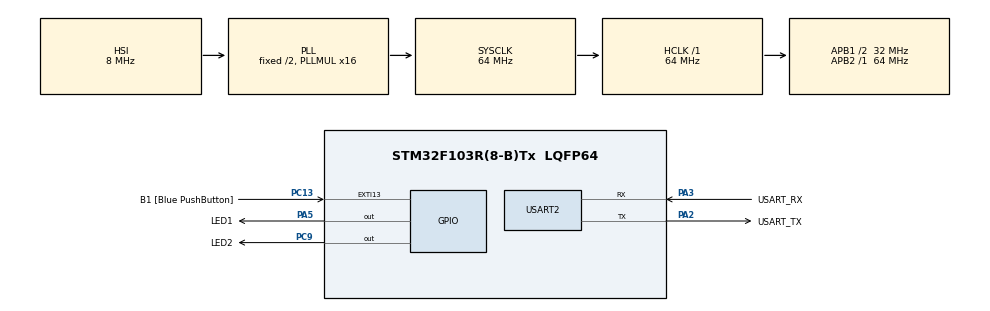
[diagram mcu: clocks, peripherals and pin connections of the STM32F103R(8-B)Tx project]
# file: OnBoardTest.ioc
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Mcu.Family=STM32F1
Mcu.Name=STM32F103R(8-B)Tx
Mcu.Package=LQFP64
NVIC.EXTI15_10_IRQn=true\:0\:0\:false\:false\:true\:true\:true\:true
NVIC.PriorityGroup=NVIC_PRIORITYGROUP_4
NVIC.TIM2_IRQn=true\:0\:0\:false\:false\:true\:true\:true\:true
PA13.GPIO_Label=TMS
PA13.Mode=Serial_Wire
PA13.Signal=SYS_JTMS-SWDIO
PA14.GPIO_Label=TCK
PA14.Mode=Serial_Wire
PA14.Signal=SYS_JTCK-SWCLK
PA2.GPIO_Label=USART_TX
PA2.GPIO_Mode=GPIO_MODE_AF_PP
PA2.GPIO_PuPd=GPIO_NOPULL
PA2.GPIO_Speed=GPIO_SPEED_FREQ_LOW
PA2.Mode=Asynchronous
PA2.Signal=USART2_TX
PA3.GPIO_Label=USART_RX
PA3.GPIO_Mode=GPIO_MODE_AF_PP
PA3.GPIO_PuPd=GPIO_NOPULL
PA3.GPIO_Speed=GPIO_SPEED_FREQ_LOW
PA3.Mode=Asynchronous
PA3.Signal=USART2_RX
PA5.GPIO_Label=LED1
PA5.GPIO_ModeDefaultOutputPP=GPIO_MODE_OUTPUT_PP
PA5.GPIO_PuPd=GPIO_NOPULL
PA5.GPIO_Speed=GPIO_SPEED_FREQ_LOW
PA5.Signal=GPIO_Output
PB3.GPIO_Label=SWO
PB3.Signal=SYS_JTDO-TRACESWO
PC13-TAMPER-RTC.GPIO_Label=B1 [Blue PushButton]
PC13-TAMPER-RTC.GPIO_PuPd=GPIO_NOPULL
PC13-TAMPER-RTC.Signal=GPXTI13
PC14-OSC32_IN.Mode=LSE-External-Oscillator
PC14-OSC32_IN.Signal=RCC_OSC32_IN
PC15-OSC32_OUT.Mode=LSE-External-Oscillator
PC15-OSC32_OUT.Signal=RCC_OSC32_OUT
PC9.GPIO_Label=LED2
PC9.Signal=GPIO_Output
PD0-OSC_IN.Mode=HSE-External-Clock-Source
PD0-OSC_IN.Signal=RCC_OSC_IN
PD1-OSC_OUT.Mode=HSE-External-Clock-Source
PD1-OSC_OUT.Signal=RCC_OSC_OUT
ProjectManager.HeapSize=0x200
ProjectManager.StackSize=0x400
ProjectManager.TargetToolchain=STM32CubeIDE
RCC.AHBFreq_Value=64000000
RCC.APB1CLKDivider=RCC_HCLK_DIV2
RCC.APB1Freq_Value=32000000
RCC.APB1TimFreq_Value=64000000
RCC.APB2Freq_Value=64000000
RCC.APB2TimFreq_Value=64000000
RCC.HCLKFreq_Value=64000000
RCC.PLLMUL=RCC_PLL_MUL16
RCC.RTCClockSelection=RCC_RTCCLKSOURCE_LSE
RCC.SYSCLKFreq_VALUE=64000000
RCC.SYSCLKSource=RCC_SYSCLKSOURCE_PLLCLK
RCC.USBFreq_Value=64000000
TIM2.Period=9
TIM2.Prescaler=6399
USART2.VirtualMode=VM_ASYNC
VP_TIM2_VS_ClockSourceINT.Mode=Internal
board=NUCLEO-F103RB

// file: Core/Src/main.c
/* USER CODE BEGIN Header */
/**
  ******************************************************************************
  * @file           : main.c
  * @brief          : Main program body
  ******************************************************************************
  * @attention
  *
  * Copyright (c) 2023 STMicroelectronics.
  * All rights reserved.
  *
  * This software is licensed under terms that can be found in the LICENSE file
  * in the root directory of this software component.
  * If no LICENSE file comes with this software, it is provided AS-IS.
  *
  ******************************************************************************
  */
/* USER CODE END Header */
#include "main.h"

/* USER CODE BEGIN PD */
#define ON_DURATION0 9
#define OFF_DURATION0 1
#define ON_DURATION1 9
#define OFF_DURATION1 1
/* USER CODE END PD */

TIM_HandleTypeDef htim2;

UART_HandleTypeDef huart2;

/* USER CODE BEGIN PV */
int timer0_counter = 0;
int timer0_flag = 0;
int timer1_counter = 0;
int timer1_flag = 0;

/* USER CODE END PV */

void SystemClock_Config(void);
static void MX_GPIO_Init(void);
static void MX_USART2_UART_Init(void);
static void MX_TIM2_Init(void);
/* USER CODE BEGIN PFP */
void timer0Run()
{
	--timer0_counter;
	if (timer0_counter <= 0)
	{
		timer0_flag = 1;
	}
}

void setTimer0(int duration)
{
	timer0_counter = duration;
	timer0_flag = 0;
}

void timer1Run()
{
	--timer1_counter;
	if (timer1_counter <= 0)
	{
		timer1_flag = 1;
	}
}

void setTimer1(int duration)
{
	timer1_counter = duration;
	timer1_flag = 0;
}

/* USER CODE END PFP */

int main(void)
{

  /* MCU Configuration--------------------------------------------------------*/

  /* Reset of all peripherals, Initializes the Flash interface and the Systick. */
  HAL_Init();

  /* Configure the system clock */
  SystemClock_Config();

  /* Initialize all configured peripherals */
  MX_GPIO_Init();
  MX_USART2_UART_Init();
  MX_TIM2_Init();

  /* Infinite loop */
  /* USER CODE BEGIN WHILE */
  HAL_TIM_Base_Start_IT(&htim2);
  enum Status
  {
	  INIT,
	  LED_ON,
	  LED_OFF
  };
  int led_status0 = INIT;
  int led_status1 = INIT;
//  int led_enabled = 0;
  HAL_GPIO_WritePin(LED1_GPIO_Port, LED1_Pin, GPIO_PIN_RESET);
  while (1)
  {
    /* USER CODE END WHILE */

    /* USER CODE BEGIN 3 */
//	Exercise 2
//	switch (led_enabled)
//	{
//	  case 0:
//		  HAL_GPIO_WritePin(LED1_GPIO_Port, LED1_Pin, GPIO_PIN_SET);
//		  HAL_GPIO_WritePin(LED2_GPIO_Port, LED2_Pin, GPIO_PIN_RESET);
//		  if (timer_flag == 1)
//		  {
//			  setTimer(10);
//			  led_enabled = 1;
//		  }
//		  break;
//	  case 1:
//		  HAL_GPIO_WritePin(LED1_GPIO_Port, LED1_Pin, GPIO_PIN_RESET);
//		  HAL_GPIO_WritePin(LED2_GPIO_Port, LED2_Pin, GPIO_PIN_SET);
//		  if (timer_flag == 1)
//		  {
//			  setTimer(10);
//			  led_enabled = 0;
//		  }
//		  break;
//
//	}

	//Exercise 3

	switch (led_status0)
	{
		case INIT:
	      led_status0 = LED_ON;
		  setTimer0(ON_DURATION0);
		case LED_ON:
		  HAL_GPIO_WritePin(LED1_GPIO_Port, LED1_Pin, GPIO_PIN_SET);
		  if (timer0_flag == 1)
		  {
			  setTimer0(OFF_DURATION0);
			  led_status0 = LED_OFF;
		  }
		  break;
		case LED_OFF:
		  HAL_GPIO_WritePin(LED1_GPIO_Port, LED1_Pin, GPIO_PIN_RESET);
		  if (timer0_flag == 1)
		  {
			  setTimer0(ON_DURATION0);
			  led_status0 = LED_ON;
		  }
		  break;
	}

	switch (led_status1)
	{
		case INIT:
		  led_status1 = LED_ON;
		  setTimer1(ON_DURATION1);
		case LED_ON:
		  HAL_GPIO_WritePin(LED2_GPIO_Port, LED2_Pin, GPIO_PIN_SET);
		  if (timer1_flag == 1)
		  {
			  setTimer1(OFF_DURATION1);
			  led_status1 = LED_OFF;
		  }
		  break;
		case LED_OFF:
		  HAL_GPIO_WritePin(LED2_GPIO_Port, LED2_Pin, GPIO_PIN_RESET);
		  if (timer1_flag == 1)
		  {
			  setTimer1(ON_DURATION1);
			  led_status1 = LED_ON;
		  }
		  break;
	}
}
  /* USER CODE END 3 */
}

void SystemClock_Config(void)
{
  RCC_OscInitTypeDef RCC_OscInitStruct = {0};
  RCC_ClkInitTypeDef RCC_ClkInitStruct = {0};

  /** Initializes the RCC Oscillators according to the specified parameters
  * in the RCC_OscInitTypeDef structure.
  */
  RCC_OscInitStruct.OscillatorType = RCC_OSCILLATORTYPE_HSI;
  RCC_OscInitStruct.HSIState = RCC_HSI_ON;
  RCC_OscInitStruct.HSICalibrationValue = RCC_HSICALIBRATION_DEFAULT;
  RCC_OscInitStruct.PLL.PLLState = RCC_PLL_ON;
  RCC_OscInitStruct.PLL.PLLSource = RCC_PLLSOURCE_HSI_DIV2;
  RCC_OscInitStruct.PLL.PLLMUL = RCC_PLL_MUL16;
  if (HAL_RCC_OscConfig(&RCC_OscInitStruct) != HAL_OK)
  {
    Error_Handler();
  }

  /** Initializes the CPU, AHB and APB buses clocks
  */
  RCC_ClkInitStruct.ClockType = RCC_CLOCKTYPE_HCLK|RCC_CLOCKTYPE_SYSCLK
                              |RCC_CLOCKTYPE_PCLK1|RCC_CLOCKTYPE_PCLK2;
  RCC_ClkInitStruct.SYSCLKSource = RCC_SYSCLKSOURCE_PLLCLK;
  RCC_ClkInitStruct.AHBCLKDivider = RCC_SYSCLK_DIV1;
  RCC_ClkInitStruct.APB1CLKDivider = RCC_HCLK_DIV2;
  RCC_ClkInitStruct.APB2CLKDivider = RCC_HCLK_DIV1;

  if (HAL_RCC_ClockConfig(&RCC_ClkInitStruct, FLASH_LATENCY_2) != HAL_OK)
  {
    Error_Handler();
  }
}

static void MX_TIM2_Init(void)
{

  TIM_ClockConfigTypeDef sClockSourceConfig = {0};
  TIM_MasterConfigTypeDef sMasterConfig = {0};

  htim2.Instance = TIM2;
  htim2.Init.Prescaler = 6399;
  htim2.Init.CounterMode = TIM_COUNTERMODE_UP;
  htim2.Init.Period = 9;
  htim2.Init.ClockDivision = TIM_CLOCKDIVISION_DIV1;
  htim2.Init.AutoReloadPreload = TIM_AUTORELOAD_PRELOAD_DISABLE;
  if (HAL_TIM_Base_Init(&htim2) != HAL_OK)
  {
    Error_Handler();
  }
  sClockSourceConfig.ClockSource = TIM_CLOCKSOURCE_INTERNAL;
  if (HAL_TIM_ConfigClockSource(&htim2, &sClockSourceConfig) != HAL_OK)
  {
    Error_Handler();
  }
  sMasterConfig.MasterOutputTrigger = TIM_TRGO_RESET;
  sMasterConfig.MasterSlaveMode = TIM_MASTERSLAVEMODE_DISABLE;
  if (HAL_TIMEx_MasterConfigSynchronization(&htim2, &sMasterConfig) != HAL_OK)
  {
    Error_Handler();
  }

}

static void MX_USART2_UART_Init(void)
{

  huart2.Instance = USART2;
  huart2.Init.BaudRate = 115200;
  huart2.Init.WordLength = UART_WORDLENGTH_8B;
  huart2.Init.StopBits = UART_STOPBITS_1;
  huart2.Init.Parity = UART_PARITY_NONE;
  huart2.Init.Mode = UART_MODE_TX_RX;
  huart2.Init.HwFlowCtl = UART_HWCONTROL_NONE;
  huart2.Init.OverSampling = UART_OVERSAMPLING_16;
  if (HAL_UART_Init(&huart2) != HAL_OK)
  {
    Error_Handler();
  }

}

static void MX_GPIO_Init(void)
{
  GPIO_InitTypeDef GPIO_InitStruct = {0};

  /* GPIO Ports Clock Enable */
  __HAL_RCC_GPIOC_CLK_ENABLE();
  __HAL_RCC_GPIOD_CLK_ENABLE();
  __HAL_RCC_GPIOA_CLK_ENABLE();
  __HAL_RCC_GPIOB_CLK_ENABLE();

  /*Configure GPIO pin Output Level */
  HAL_GPIO_WritePin(LED1_GPIO_Port, LED1_Pin, GPIO_PIN_RESET);

  /*Configure GPIO pin Output Level */
  HAL_GPIO_WritePin(LED2_GPIO_Port, LED2_Pin, GPIO_PIN_RESET);

  /*Configure GPIO pin : B1_Pin */
  GPIO_InitStruct.Pin = B1_Pin;
  GPIO_InitStruct.Mode = GPIO_MODE_IT_RISING;
  GPIO_InitStruct.Pull = GPIO_NOPULL;
  HAL_GPIO_Init(B1_GPIO_Port, &GPIO_InitStruct);

  /*Configure GPIO pin : LED1_Pin */
  GPIO_InitStruct.Pin = LED1_Pin;
  GPIO_InitStruct.Mode = GPIO_MODE_OUTPUT_PP;
  GPIO_InitStruct.Pull = GPIO_NOPULL;
  GPIO_InitStruct.Speed = GPIO_SPEED_FREQ_LOW;
  HAL_GPIO_Init(LED1_GPIO_Port, &GPIO_InitStruct);

  /*Configure GPIO pin : LED2_Pin */
  GPIO_InitStruct.Pin = LED2_Pin;
  GPIO_InitStruct.Mode = GPIO_MODE_OUTPUT_PP;
  GPIO_InitStruct.Pull = GPIO_NOPULL;
  GPIO_InitStruct.Speed = GPIO_SPEED_FREQ_LOW;
  HAL_GPIO_Init(LED2_GPIO_Port, &GPIO_InitStruct);

  /* EXTI interrupt init*/
  HAL_NVIC_SetPriority(EXTI15_10_IRQn, 0, 0);
  HAL_NVIC_EnableIRQ(EXTI15_10_IRQn);

}

/* USER CODE BEGIN 4 */
void HAL_TIM_PeriodElapsedCallback ( TIM_HandleTypeDef * htim )
{
	timer0Run();
	timer1Run();
}
/* USER CODE END 4 */

void Error_Handler(void)
{
  __disable_irq();
  while (1)
  {
  }
}
